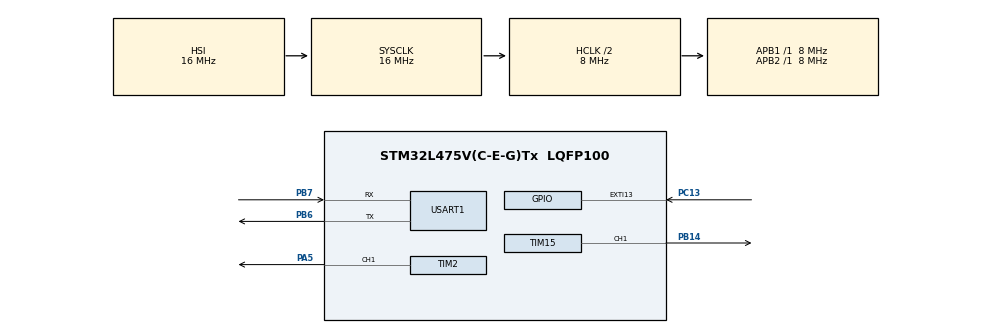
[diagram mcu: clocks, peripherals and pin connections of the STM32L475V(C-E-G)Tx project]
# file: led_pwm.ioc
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Mcu.Family=STM32L4
RCC.MSI_VALUE=4000000
SH.S_TIM2_CH1.0=TIM2_CH1,PWM Generation1 CH1
RCC.CortexFreq_Value=8000000
PC13.Signal=GPXTI13
RCC.SYSCLKSource=RCC_SYSCLKSOURCE_HSI
ProjectManager.StackSize=0x400
TIM2.Pulse-PWM\ Generation1\ CH1=0
USART1.VirtualMode-Asynchronous=VM_ASYNC
ProjectManager.TargetToolchain=EWARM V8.32
TIM15.Prescaler=0
RCC.HCLKFreq_Value=8000000
RCC.APB2TimFreq_Value=8000000
PB6.Signal=USART1_TX
PB6.Mode=Asynchronous
RCC.USBFreq_Value=48000000
RCC.LSE_VALUE=32768
RCC.AHBFreq_Value=8000000
NVIC.EXTI15_10_IRQn=true\:0\:0\:false\:false\:true\:true\:true
PB14.Signal=S_TIM15_CH1
PA5.Signal=S_TIM2_CH1
RCC.HSE_VALUE=8000000
board=B-L475E-IOT01A1
RCC.VCOOutputFreq_Value=160000000
SH.S_TIM15_CH1.0=TIM15_CH1,PWM Generation1 CH1
TIM15.Period=g_tim15_period
RCC.APB2Freq_Value=8000000
VP_TIM2_VS_ClockSourceINT.Mode=Internal
RCC.ADCFreq_Value=48000000
PB7.Signal=USART1_RX
RCC.AHBCLKDivider=RCC_SYSCLK_DIV2
TIM2.Channel-PWM\ Generation1\ CH1=TIM_CHANNEL_1
TIM2.Period=g_tim2_period
Mcu.Name=STM32L475V(C-E-G)Tx
RCC.SYSCLKFreq_VALUE=16000000
Mcu.Package=LQFP100
TIM2.Prescaler=0
RCC.USART1CLockSelection=RCC_USART1CLKSOURCE_SYSCLK
PB7.Mode=Asynchronous
VP_TIM15_VS_ClockSourceINT.Mode=Internal
ProjectManager.HeapSize=0x200
RCC.HSI_VALUE=16000000
NVIC.PriorityGroup=NVIC_PRIORITYGROUP_4
RCC.PLLN=40
RCC.APB1TimFreq_Value=8000000
TIM15.Pulse-PWM\ Generation1\ CH1=0
RCC.APB1Freq_Value=8000000
RCC.PLLSAI1N=24
TIM15.Channel-PWM\ Generation1\ CH1=TIM_CHANNEL_1

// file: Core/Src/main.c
/* USER CODE BEGIN Header */
/**
  ******************************************************************************
  * @file           : main.c
  * @brief          : Main program body
  ******************************************************************************
  * @attention
  *
  * <h2><center>&copy; Copyright (c) 2020 STMicroelectronics.
  * All rights reserved.</center></h2>
  *
  * This software component is licensed by ST under BSD 3-Clause license,
  * the "License"; You may not use this file except in compliance with the
  * License. You may obtain a copy of the License at:
  *                        opensource.org/licenses/BSD-3-Clause
  *
  ******************************************************************************
  */
/* USER CODE END Header */
#include "main.h"

/* USER CODE BEGIN Includes */
#include "print.h"
#include "stm32l4xx_hal_tim.h"
#include <stdio.h>
/* USER CODE END Includes */

/* USER CODE BEGIN PD */
#define DEBUG 0
/* USER CODE END PD */

/* USER CODE BEGIN PM */
PRINT_DEFINEBUFFER();           /* required for lightweight sprintf */

/* USER CODE END PM */

TIM_HandleTypeDef htim2;
TIM_HandleTypeDef htim15;

UART_HandleTypeDef huart1;

/* USER CODE BEGIN PV */
// System clock = 8MHz
//uint16_t g_tim2_period = 39999;  // 40000 period => 200Hz
uint16_t g_tim2_period = 65000;  // 65000 period => 123Hz

uint16_t g_tim15_period = 65000; // 65000 period => 123Hz

/* USER CODE END PV */

void SystemClock_Config(void);
static void MX_GPIO_Init(void);
static void MX_TIM2_Init(void);
static void MX_TIM15_Init(void);
static void MX_USART1_UART_Init(void);
/* USER CODE BEGIN PFP */
// Custom function used to change PWM duty cycle for specified TIM handle
void user_pwm_setvalue(TIM_HandleTypeDef *htim,uint16_t value);

/* USER CODE END PFP */

/* USER CODE BEGIN 0 */
uint8_t myTxData[] = "EMBSYS310: Assignment08 PWM LED\r\n";

/* USER CODE END 0 */

int main(void)
{
  /* USER CODE BEGIN 1 */
    uint16_t i, j;
    int16_t step, step2;
    uint32_t loop;
  /* USER CODE END 1 */

  /* MCU Configuration--------------------------------------------------------*/

  /* Reset of all peripherals, Initializes the Flash interface and the Systick. */
  HAL_Init();

  /* Configure the system clock */
  SystemClock_Config();

  /* Initialize all configured peripherals */
  MX_GPIO_Init();
  MX_TIM2_Init();
  MX_TIM15_Init();
  MX_USART1_UART_Init();
  /* USER CODE BEGIN 2 */
  // Start timer2 and timer15 in PWM mode
  HAL_TIM_PWM_Start(&htim2, TIM_CHANNEL_1);
  HAL_TIM_PWM_Start(&htim15, TIM_CHANNEL_1);

  HAL_UART_Transmit(&huart1, myTxData, sizeof(myTxData), 10);
  /* USER CODE END 2 */

  /* Infinite loop */
  /* USER CODE BEGIN WHILE */
  i = 0;
  j = 0;
  loop = 0;

  // Print debug information to usart1
#if DEBUG
  PrintString("\nloop, i, j\n");
  Print_uint32(loop);
  PrintByte(',');
  Print_uint32(i);
  PrintByte(',');
  Print_uint32(j);
  PrintString("\n");
#endif
  while (1)
  {
    /* USER CODE END WHILE */

    /* USER CODE BEGIN 3 */

      // Duty cycle = ton/tperiod

      // LED1 TIM2
      // Adjust up or down step based on whether we have reached max period count
      if (i == g_tim2_period) step = -500;
      if (i == 0) step = 500;
      i += step;  // Increment pulse width by step1
      user_pwm_setvalue(&htim2, i); // Set new pulse width for LED1

      // LED2 TIM15
      // Adjust up or down step based on whether we have reached max period count
      // Use half step so that LED's will not change at same rate
      if (j == g_tim15_period) step2 = -250;
      if (j == 0) step2 = 250;
      j += step2;  // Increment pulse width by step2

      // Print debug information to usart1
#if DEBUG
      Print_uint32(loop);
      PrintByte(',');
      Print_uint32(i);
      PrintByte(',');
      Print_uint32(j);
      PrintString("\n");
#endif
      user_pwm_setvalue(&htim15, j); // Set new pulse width for LED2
      HAL_Delay(5);
      loop++;

  }
  /* USER CODE END 3 */
}

void SystemClock_Config(void)
{
  RCC_OscInitTypeDef RCC_OscInitStruct = {0};
  RCC_ClkInitTypeDef RCC_ClkInitStruct = {0};
  RCC_PeriphCLKInitTypeDef PeriphClkInit = {0};

  /** Initializes the RCC Oscillators according to the specified parameters
  * in the RCC_OscInitTypeDef structure.
  */
  RCC_OscInitStruct.OscillatorType = RCC_OSCILLATORTYPE_HSI;
  RCC_OscInitStruct.HSIState = RCC_HSI_ON;
  RCC_OscInitStruct.HSICalibrationValue = RCC_HSICALIBRATION_DEFAULT;
  RCC_OscInitStruct.PLL.PLLState = RCC_PLL_NONE;
  if (HAL_RCC_OscConfig(&RCC_OscInitStruct) != HAL_OK)
  {
    Error_Handler();
  }
  /** Initializes the CPU, AHB and APB buses clocks
  */
  RCC_ClkInitStruct.ClockType = RCC_CLOCKTYPE_HCLK|RCC_CLOCKTYPE_SYSCLK
                              |RCC_CLOCKTYPE_PCLK1|RCC_CLOCKTYPE_PCLK2;
  RCC_ClkInitStruct.SYSCLKSource = RCC_SYSCLKSOURCE_HSI;
  RCC_ClkInitStruct.AHBCLKDivider = RCC_SYSCLK_DIV2;
  RCC_ClkInitStruct.APB1CLKDivider = RCC_HCLK_DIV1;
  RCC_ClkInitStruct.APB2CLKDivider = RCC_HCLK_DIV1;

  if (HAL_RCC_ClockConfig(&RCC_ClkInitStruct, FLASH_LATENCY_0) != HAL_OK)
  {
    Error_Handler();
  }
  PeriphClkInit.PeriphClockSelection = RCC_PERIPHCLK_USART1;
  PeriphClkInit.Usart1ClockSelection = RCC_USART1CLKSOURCE_SYSCLK;
  if (HAL_RCCEx_PeriphCLKConfig(&PeriphClkInit) != HAL_OK)
  {
    Error_Handler();
  }
  /** Configure the main internal regulator output voltage
  */
  if (HAL_PWREx_ControlVoltageScaling(PWR_REGULATOR_VOLTAGE_SCALE1) != HAL_OK)
  {
    Error_Handler();
  }
}

static void MX_TIM2_Init(void)
{

  TIM_ClockConfigTypeDef sClockSourceConfig = {0};
  TIM_MasterConfigTypeDef sMasterConfig = {0};
  TIM_OC_InitTypeDef sConfigOC = {0};

  /* USER CODE BEGIN TIM2_Init 1 */
  // period count = (1/newFreq)/(1/sysclk)
  // period count = (1/100000)/(1/8MHz) = 80
  // period count = (1/100)/(1/8HMz)=80000 which will not work since period and pulse need 16bit values max
  // Max newFreq = 8MHz/2^16 = 123Hz

  /* USER CODE END TIM2_Init 1 */
  htim2.Instance = TIM2;
  htim2.Init.Prescaler = 0;
  htim2.Init.CounterMode = TIM_COUNTERMODE_UP;
  htim2.Init.Period = g_tim2_period;
  htim2.Init.ClockDivision = TIM_CLOCKDIVISION_DIV1;
  htim2.Init.AutoReloadPreload = TIM_AUTORELOAD_PRELOAD_DISABLE;
  if (HAL_TIM_Base_Init(&htim2) != HAL_OK)
  {
    Error_Handler();
  }
  sClockSourceConfig.ClockSource = TIM_CLOCKSOURCE_INTERNAL;
  if (HAL_TIM_ConfigClockSource(&htim2, &sClockSourceConfig) != HAL_OK)
  {
    Error_Handler();
  }
  if (HAL_TIM_PWM_Init(&htim2) != HAL_OK)
  {
    Error_Handler();
  }
  sMasterConfig.MasterOutputTrigger = TIM_TRGO_RESET;
  sMasterConfig.MasterSlaveMode = TIM_MASTERSLAVEMODE_DISABLE;
  if (HAL_TIMEx_MasterConfigSynchronization(&htim2, &sMasterConfig) != HAL_OK)
  {
    Error_Handler();
  }
  sConfigOC.OCMode = TIM_OCMODE_PWM1;
  sConfigOC.Pulse = 0;
  sConfigOC.OCPolarity = TIM_OCPOLARITY_HIGH;
  sConfigOC.OCFastMode = TIM_OCFAST_DISABLE;
  if (HAL_TIM_PWM_ConfigChannel(&htim2, &sConfigOC, TIM_CHANNEL_1) != HAL_OK)
  {
    Error_Handler();
  }
  HAL_TIM_MspPostInit(&htim2);

}

static void MX_TIM15_Init(void)
{

  TIM_ClockConfigTypeDef sClockSourceConfig = {0};
  TIM_MasterConfigTypeDef sMasterConfig = {0};
  TIM_OC_InitTypeDef sConfigOC = {0};
  TIM_BreakDeadTimeConfigTypeDef sBreakDeadTimeConfig = {0};

  /* USER CODE BEGIN TIM15_Init 1 */
  // htim15.Init.Period = 63999; // 125Hz
  // sConfigOC.Pulse = 51199;// 80% DC

  /* USER CODE END TIM15_Init 1 */
  htim15.Instance = TIM15;
  htim15.Init.Prescaler = 0;
  htim15.Init.CounterMode = TIM_COUNTERMODE_UP;
  htim15.Init.Period = g_tim15_period;
  htim15.Init.ClockDivision = TIM_CLOCKDIVISION_DIV1;
  htim15.Init.RepetitionCounter = 0;
  htim15.Init.AutoReloadPreload = TIM_AUTORELOAD_PRELOAD_DISABLE;
  if (HAL_TIM_Base_Init(&htim15) != HAL_OK)
  {
    Error_Handler();
  }
  sClockSourceConfig.ClockSource = TIM_CLOCKSOURCE_INTERNAL;
  if (HAL_TIM_ConfigClockSource(&htim15, &sClockSourceConfig) != HAL_OK)
  {
    Error_Handler();
  }
  if (HAL_TIM_PWM_Init(&htim15) != HAL_OK)
  {
    Error_Handler();
  }
  sMasterConfig.MasterOutputTrigger = TIM_TRGO_RESET;
  sMasterConfig.MasterSlaveMode = TIM_MASTERSLAVEMODE_DISABLE;
  if (HAL_TIMEx_MasterConfigSynchronization(&htim15, &sMasterConfig) != HAL_OK)
  {
    Error_Handler();
  }
  sConfigOC.OCMode = TIM_OCMODE_PWM1;
  sConfigOC.Pulse = 0;
  sConfigOC.OCPolarity = TIM_OCPOLARITY_HIGH;
  sConfigOC.OCNPolarity = TIM_OCNPOLARITY_HIGH;
  sConfigOC.OCFastMode = TIM_OCFAST_DISABLE;
  sConfigOC.OCIdleState = TIM_OCIDLESTATE_RESET;
  sConfigOC.OCNIdleState = TIM_OCNIDLESTATE_RESET;
  if (HAL_TIM_PWM_ConfigChannel(&htim15, &sConfigOC, TIM_CHANNEL_1) != HAL_OK)
  {
    Error_Handler();
  }
  sBreakDeadTimeConfig.OffStateRunMode = TIM_OSSR_DISABLE;
  sBreakDeadTimeConfig.OffStateIDLEMode = TIM_OSSI_DISABLE;
  sBreakDeadTimeConfig.LockLevel = TIM_LOCKLEVEL_OFF;
  sBreakDeadTimeConfig.DeadTime = 0;
  sBreakDeadTimeConfig.BreakState = TIM_BREAK_DISABLE;
  sBreakDeadTimeConfig.BreakPolarity = TIM_BREAKPOLARITY_HIGH;
  sBreakDeadTimeConfig.AutomaticOutput = TIM_AUTOMATICOUTPUT_DISABLE;
  if (HAL_TIMEx_ConfigBreakDeadTime(&htim15, &sBreakDeadTimeConfig) != HAL_OK)
  {
    Error_Handler();
  }
  HAL_TIM_MspPostInit(&htim15);

}

static void MX_USART1_UART_Init(void)
{

  huart1.Instance = USART1;
  huart1.Init.BaudRate = 115200;
  huart1.Init.WordLength = UART_WORDLENGTH_8B;
  huart1.Init.StopBits = UART_STOPBITS_1;
  huart1.Init.Parity = UART_PARITY_NONE;
  huart1.Init.Mode = UART_MODE_TX_RX;
  huart1.Init.HwFlowCtl = UART_HWCONTROL_NONE;
  huart1.Init.OverSampling = UART_OVERSAMPLING_16;
  huart1.Init.OneBitSampling = UART_ONE_BIT_SAMPLE_DISABLE;
  huart1.AdvancedInit.AdvFeatureInit = UART_ADVFEATURE_NO_INIT;
  if (HAL_UART_Init(&huart1) != HAL_OK)
  {
    Error_Handler();
  }

}

static void MX_GPIO_Init(void)
{
  GPIO_InitTypeDef GPIO_InitStruct = {0};

  /* GPIO Ports Clock Enable */
  __HAL_RCC_GPIOC_CLK_ENABLE();
  __HAL_RCC_GPIOA_CLK_ENABLE();
  __HAL_RCC_GPIOB_CLK_ENABLE();

  /*Configure GPIO pin : PC13 */
  GPIO_InitStruct.Pin = GPIO_PIN_13;
  GPIO_InitStruct.Mode = GPIO_MODE_IT_RISING;
  GPIO_InitStruct.Pull = GPIO_NOPULL;
  HAL_GPIO_Init(GPIOC, &GPIO_InitStruct);

  /* EXTI interrupt init*/
  HAL_NVIC_SetPriority(EXTI15_10_IRQn, 0, 0);
  HAL_NVIC_EnableIRQ(EXTI15_10_IRQn);

}

/* USER CODE BEGIN 4 */
// User PWM set value function
void user_pwm_setvalue(TIM_HandleTypeDef *htim, uint16_t value)
{
    __HAL_TIM_SET_COMPARE(htim, TIM_CHANNEL_1, value);
}
/* USER CODE END 4 */

void Error_Handler(void)
{
}

/************************ (C) COPYRIGHT STMicroelectronics *****END OF FILE****/
